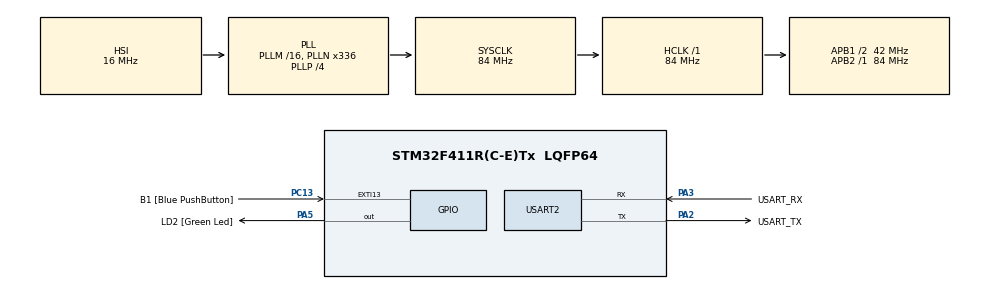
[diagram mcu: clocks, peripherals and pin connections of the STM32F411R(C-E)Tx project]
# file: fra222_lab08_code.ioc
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Mcu.Family=STM32F4
PC15-OSC32_OUT.Mode=LSE-External-Oscillator
RCC.CortexFreq_Value=84000000
PC13-ANTI_TAMP.GPIO_Label=B1 [Blue PushButton]
PA14.GPIO_Label=TCK
PH1\ -\ OSC_OUT.Mode=HSE-External-Clock-Source
RCC.APB1CLKDivider=RCC_HCLK_DIV2
PC14-OSC32_IN.Signal=RCC_OSC32_IN
NVIC.USART2_IRQn=true\:0\:0\:false\:false\:true\:true\:true
RCC.SYSCLKSource=RCC_SYSCLKSOURCE_PLLCLK
ProjectManager.StackSize=0x400
PA13.Signal=SYS_JTMS-SWDIO
PA3.Mode=Asynchronous
PH0\ -\ OSC_IN.Mode=HSE-External-Clock-Source
PH0\ -\ OSC_IN.Signal=RCC_OSC_IN
ProjectManager.TargetToolchain=STM32CubeIDE
RCC.HCLKFreq_Value=84000000
RCC.APB2TimFreq_Value=84000000
PC15-OSC32_OUT.Signal=RCC_OSC32_OUT
RCC.AHBFreq_Value=84000000
PA5.Signal=GPIO_Output
RCC.HSE_VALUE=8000000
PH1\ -\ OSC_OUT.Signal=RCC_OSC_OUT
board=NUCLEO-F411RE
PC13-ANTI_TAMP.Signal=GPXTI13
RCC.VCOOutputFreq_Value=336000000
RCC.APB2Freq_Value=84000000
PC14-OSC32_IN.Mode=LSE-External-Oscillator
PA14.Mode=Serial_Wire
PA13.Mode=Serial_Wire
Mcu.Name=STM32F411R(C-E)Tx
PA2.Signal=USART2_TX
PA13.GPIO_Label=TMS
RCC.FLatency-AdvancedSettings=FLASH_LATENCY_2
RCC.48MHZClocksFreq_Value=84000000
PB3.Signal=SYS_JTDO-SWO
RCC.SYSCLKFreq_VALUE=84000000
Mcu.Package=LQFP64
PA5.GPIO_Label=LD2 [Green Led]
USART2.VirtualMode=VM_ASYNC
PC13-ANTI_TAMP.GPIO_ModeDefaultEXTI=GPIO_MODE_IT_FALLING
PA2.GPIO_Label=USART_TX
PA14.Signal=SYS_JTCK-SWCLK
ProjectManager.HeapSize=0x200
RCC.HSI_VALUE=16000000
RCC.PLLP=RCC_PLLP_DIV4
NVIC.PriorityGroup=NVIC_PRIORITYGROUP_0
RCC.PLLN=336
RCC.APB1TimFreq_Value=84000000
PA2.Mode=Asynchronous
RCC.APB1Freq_Value=42000000
PA3.GPIO_Label=USART_RX
PA3.Signal=USART2_RX
PB3.GPIO_Label=SWO

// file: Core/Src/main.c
/* USER CODE BEGIN Header */
/**
 ******************************************************************************
 * @file           : main.c
 * @brief          : Main program body
 ******************************************************************************
 * @attention
 *
 * <h2><center>&copy; Copyright (c) 2021 STMicroelectronics.
 * All rights reserved.</center></h2>
 *
 * This software component is licensed by ST under BSD 3-Clause license,
 * the "License"; You may not use this file except in compliance with the
 * License. You may obtain a copy of the License at:
 *                        opensource.org/licenses/BSD-3-Clause
 *
 ******************************************************************************
 */
/* USER CODE END Header */
#include "main.h"

/* USER CODE BEGIN Includes */
#include <stdio.h>		//sprintf()
#include <string.h>		//strlen()

/* USER CODE END Includes */

UART_HandleTypeDef huart2;

/* USER CODE BEGIN PV */

char TxDataBuffer[32] = {0};
char RxDataBuffer[32] = {0};

typedef enum
{
	Menu_Main,
	Menu_Mode0,
	Menu_Mode1

} State;
State CurrentState = Menu_Main;

uint32_t TimeStamp = 0;
uint8_t LED_Frequency = 1;	//default 1Hz
uint8_t LED_State = 1;		//default state On

uint8_t ButtonState[2] = {0};

/* USER CODE END PV */

void SystemClock_Config(void);
static void MX_GPIO_Init(void);
static void MX_USART2_UART_Init(void);
/* USER CODE BEGIN PFP */
void UARTRecieveAndResponsePolling();
int16_t UARTRecieveIT();
/* USER CODE END PFP */

int main(void)
{

  /* MCU Configuration--------------------------------------------------------*/

  /* Reset of all peripherals, Initializes the Flash interface and the Systick. */
  HAL_Init();

  /* Configure the system clock */
  SystemClock_Config();

  /* Initialize all configured peripherals */
  MX_GPIO_Init();
  MX_USART2_UART_Init();
  /* USER CODE BEGIN 2 */
  {

	  char temp[] = "\r\nHELLO USER :)\r\n"
			"====================\r\n"
	  		"MAIN MENU\r\n"
	  		"====================\r\n"
	  		"[0] LED Control\r\n"
	  		"[1] Button Status\r\n"
			"\r\n";
	  //array size = text length

	  HAL_UART_Transmit(&huart2, (uint8_t*)temp, strlen(temp), 1000);

  }
  /* USER CODE END 2 */

  /* Infinite loop */
  /* USER CODE BEGIN WHILE */
	while (1)
	{
		/*Method 1 Polling Mode*/

//		UARTRecieveAndResponsePolling();

		/*Method 2 Interrupt Mode*/

		HAL_UART_Receive_IT(&huart2,  (uint8_t*)RxDataBuffer, 32);

		/*Method 2 W/ 1 Char Received*/

		//read Character
		int16_t inputchar = UARTRecieveIT();
		//read User Button
		ButtonState[0] = HAL_GPIO_ReadPin(GPIOC, GPIO_PIN_13);

		if (inputchar!=-1 || ButtonState[0]!=ButtonState[1])
		{
//			sprintf(TxDataBuffer, "Received:[%c]\r\n", inputchar);
//			HAL_UART_Transmit(&huart2, (uint8_t*)TxDataBuffer, strlen(TxDataBuffer), 1000);

			switch (CurrentState) {
				case Menu_Main:							//Main Menu

					if (inputchar=='0') {
						char temp[] =
							"====================\r\n"
							"MODE0 LED Control\r\n"
							"====================\r\n"
							"[a] Speed Up +1Hz\r\n"
							"[s] Speed Down -1Hz\r\n"
							"[d] On/off\r\n"
							"[x] back\r\n"
							"\r\n";

						HAL_UART_Transmit(&huart2, (uint8_t*)temp, strlen(temp), 1000);
						CurrentState = Menu_Mode0;
					}
					else if (inputchar=='1') {
						char temp[] =
							"====================\r\n"
							"MODE1 Button Status\r\n"
							"====================\r\n"
							"[x] back\r\n"
							"\r\n";

						HAL_UART_Transmit(&huart2, (uint8_t*)temp, strlen(temp), 1000);
						CurrentState = Menu_Mode1;
					}
					else if (ButtonState[0]==ButtonState[1]) {
						char temp[] =
							"> Error: Wrong button\r\n";
						HAL_UART_Transmit(&huart2, (uint8_t*)temp, strlen(temp), 1000);
					}

					break;
				case Menu_Mode0:						//Mode0 LED Control

					if (inputchar=='a') {							//Speed Up
						LED_Frequency += 1;

						char temp[128];
						sprintf(temp,
							"====================\r\n"
							"Speed Up +1Hz => %d Hz\r\n"
							"====================\r\n"
							"[a] Speed Up +1Hz\r\n"
							"[s] Speed Down -1Hz\r\n"
							"[d] On/off\r\n"
							"[x] back\r\n"
							"\r\n",
							LED_Frequency);

						HAL_UART_Transmit(&huart2, (uint8_t*)temp, strlen(temp), 1000);
					}
					else if (inputchar=='s' && LED_Frequency!=0) {	//Speed Down
						LED_Frequency -= 1;

						char temp[128];
						sprintf(temp,
							"====================\r\n"
							"Speed Down -1Hz => %d Hz\r\n"
							"====================\r\n"
							"[a] Speed Up +1Hz\r\n"
							"[s] Speed Down -1Hz\r\n"
							"[d] On/off\r\n"
							"[x] back\r\n"
							"\r\n",
							LED_Frequency);

						HAL_UART_Transmit(&huart2, (uint8_t*)temp, strlen(temp), 1000);
					}
					else if (inputchar=='d') {	//On/Off

						if (LED_State==1) {			//On=>Off
							char temp[] =
								"====================\r\n"
								"Turn Off LED\r\n"
								"====================\r\n"
								"[a] Speed Up +1Hz\r\n"
								"[s] Speed Down -1Hz\r\n"
								"[d] On/off\r\n"
								"[x] back\r\n"
								"\r\n";
							HAL_UART_Transmit(&huart2, (uint8_t*)temp, strlen(temp), 1000);
						}
						else if (LED_State==0) {	//Off=>On
							char temp[128];
							sprintf(temp,
								"====================\r\n"
								"Turn On LED => %d Hz\r\n"
								"====================\r\n"
								"[a] Speed Up +1Hz\r\n"
								"[s] Speed Down -1Hz\r\n"
								"[d] On/off\r\n"
								"[x] back\r\n"
								"\r\n",
								LED_Frequency);
							HAL_UART_Transmit(&huart2, (uint8_t*)temp, strlen(temp), 1000);
						}

						LED_State = !LED_State;
						HAL_GPIO_WritePin(LD2_GPIO_Port, LD2_Pin, LED_State);
					}
					else if (inputchar=='x') {						//Exit
						char temp[] =
							"====================\r\n"
							"MAIN MENU\r\n"
							"====================\r\n"
							"[0] LED Control\r\n"
							"[1] Button Status\r\n"
							"\r\n";

						HAL_UART_Transmit(&huart2, (uint8_t*)temp, strlen(temp), 1000);
						CurrentState = Menu_Main;
					}
					else if (ButtonState[0]==ButtonState[1]) {
						char temp[] =
							"> Error: Wrong button\r\n";
						HAL_UART_Transmit(&huart2, (uint8_t*)temp, strlen(temp), 1000);
					}

					break;
				case Menu_Mode1:						//Mode1 Button Status

					if (ButtonState[0]==0 && inputchar==-1) {
						char temp[] =
							"> Button: Press\r\n";
						HAL_UART_Transmit(&huart2, (uint8_t*)temp, strlen(temp), 1000);
					}
					else if (ButtonState[0]==1 && inputchar==-1) {
						char temp[] =
							"> Button: Release\r\n";
						HAL_UART_Transmit(&huart2, (uint8_t*)temp, strlen(temp), 1000);
					}

					if (inputchar=='x') {
						char temp[] =
							"====================\r\n"
							"MAIN MENU\r\n"
							"====================\r\n"
							"[0] LED Control\r\n"
							"[1] Button Status\r\n"
							"\r\n";

						HAL_UART_Transmit(&huart2, (uint8_t*)temp, strlen(temp), 1000);
						CurrentState = Menu_Main;
					}
					else if (ButtonState[0]==ButtonState[1]) {
						char temp[] =
							"> Error: Wrong button\r\n";
						HAL_UART_Transmit(&huart2, (uint8_t*)temp, strlen(temp), 1000);
					}

					break;
				default:
					break;
			}
		}
		ButtonState[1] = ButtonState[0];

		if (LED_State && LED_Frequency!=0 && HAL_GetTick()-TimeStamp >= 500/LED_Frequency)
		{
			TimeStamp = HAL_GetTick();

			HAL_GPIO_TogglePin(LD2_GPIO_Port, LD2_Pin);
		}

    /* USER CODE END WHILE */

	}
}

void SystemClock_Config(void)
{
  RCC_OscInitTypeDef RCC_OscInitStruct = {0};
  RCC_ClkInitTypeDef RCC_ClkInitStruct = {0};

  /** Configure the main internal regulator output voltage
  */
  __HAL_RCC_PWR_CLK_ENABLE();
  __HAL_PWR_VOLTAGESCALING_CONFIG(PWR_REGULATOR_VOLTAGE_SCALE1);
  /** Initializes the RCC Oscillators according to the specified parameters
  * in the RCC_OscInitTypeDef structure.
  */
  RCC_OscInitStruct.OscillatorType = RCC_OSCILLATORTYPE_HSI;
  RCC_OscInitStruct.HSIState = RCC_HSI_ON;
  RCC_OscInitStruct.HSICalibrationValue = RCC_HSICALIBRATION_DEFAULT;
  RCC_OscInitStruct.PLL.PLLState = RCC_PLL_ON;
  RCC_OscInitStruct.PLL.PLLSource = RCC_PLLSOURCE_HSI;
  RCC_OscInitStruct.PLL.PLLM = 16;
  RCC_OscInitStruct.PLL.PLLN = 336;
  RCC_OscInitStruct.PLL.PLLP = RCC_PLLP_DIV4;
  RCC_OscInitStruct.PLL.PLLQ = 4;
  if (HAL_RCC_OscConfig(&RCC_OscInitStruct) != HAL_OK)
  {
    Error_Handler();
  }
  /** Initializes the CPU, AHB and APB buses clocks
  */
  RCC_ClkInitStruct.ClockType = RCC_CLOCKTYPE_HCLK|RCC_CLOCKTYPE_SYSCLK
                              |RCC_CLOCKTYPE_PCLK1|RCC_CLOCKTYPE_PCLK2;
  RCC_ClkInitStruct.SYSCLKSource = RCC_SYSCLKSOURCE_PLLCLK;
  RCC_ClkInitStruct.AHBCLKDivider = RCC_SYSCLK_DIV1;
  RCC_ClkInitStruct.APB1CLKDivider = RCC_HCLK_DIV2;
  RCC_ClkInitStruct.APB2CLKDivider = RCC_HCLK_DIV1;

  if (HAL_RCC_ClockConfig(&RCC_ClkInitStruct, FLASH_LATENCY_2) != HAL_OK)
  {
    Error_Handler();
  }
}

static void MX_USART2_UART_Init(void)
{

  huart2.Instance = USART2;
  huart2.Init.BaudRate = 115200;
  huart2.Init.WordLength = UART_WORDLENGTH_8B;
  huart2.Init.StopBits = UART_STOPBITS_1;
  huart2.Init.Parity = UART_PARITY_NONE;
  huart2.Init.Mode = UART_MODE_TX_RX;
  huart2.Init.HwFlowCtl = UART_HWCONTROL_NONE;
  huart2.Init.OverSampling = UART_OVERSAMPLING_16;
  if (HAL_UART_Init(&huart2) != HAL_OK)
  {
    Error_Handler();
  }

}

static void MX_GPIO_Init(void)
{
  GPIO_InitTypeDef GPIO_InitStruct = {0};

  /* GPIO Ports Clock Enable */
  __HAL_RCC_GPIOC_CLK_ENABLE();
  __HAL_RCC_GPIOH_CLK_ENABLE();
  __HAL_RCC_GPIOA_CLK_ENABLE();
  __HAL_RCC_GPIOB_CLK_ENABLE();

  /*Configure GPIO pin Output Level */
  HAL_GPIO_WritePin(LD2_GPIO_Port, LD2_Pin, GPIO_PIN_RESET);

  /*Configure GPIO pin : B1_Pin */
  GPIO_InitStruct.Pin = B1_Pin;
  GPIO_InitStruct.Mode = GPIO_MODE_IT_FALLING;
  GPIO_InitStruct.Pull = GPIO_NOPULL;
  HAL_GPIO_Init(B1_GPIO_Port, &GPIO_InitStruct);

  /*Configure GPIO pin : LD2_Pin */
  GPIO_InitStruct.Pin = LD2_Pin;
  GPIO_InitStruct.Mode = GPIO_MODE_OUTPUT_PP;
  GPIO_InitStruct.Pull = GPIO_NOPULL;
  GPIO_InitStruct.Speed = GPIO_SPEED_FREQ_LOW;
  HAL_GPIO_Init(LD2_GPIO_Port, &GPIO_InitStruct);

}

/* USER CODE BEGIN 4 */
void UARTRecieveAndResponsePolling()
{
	//create Buffer
	char Receive[32] = {0};

	//start Receive
	HAL_UART_Receive(&huart2, (uint8_t*)Receive, 32, 1000);

	//create sprint variable
	sprintf(TxDataBuffer, "Received:[%s]\r\n", Receive);

	//send text
	HAL_UART_Transmit(&huart2, (uint8_t*)TxDataBuffer, strlen(TxDataBuffer), 1000);
}

int16_t UARTRecieveIT()
{
	//store last data position
	static uint32_t dataPos = 0;
	//create dummy data
	int16_t data=-1;
	//check
	if(huart2.RxXferSize - huart2.RxXferCount!=dataPos)
	{
		data=RxDataBuffer[dataPos];
		dataPos= (dataPos+1)%huart2.RxXferSize;
	}
	return data;
}

void HAL_UART_RxCpltCallback(UART_HandleTypeDef *huart)
{
	//interrupt callback
//	sprintf(TxDataBuffer, "Received:[%s]\r\n", RxDataBuffer);
	HAL_UART_Transmit(&huart2, (uint8_t*)TxDataBuffer, strlen(TxDataBuffer), 1000);
}

/* USER CODE END 4 */

void Error_Handler(void)
{
	__disable_irq();
	while (1)
	{
	}
}

/************************ (C) COPYRIGHT STMicroelectronics *****END OF FILE****/
